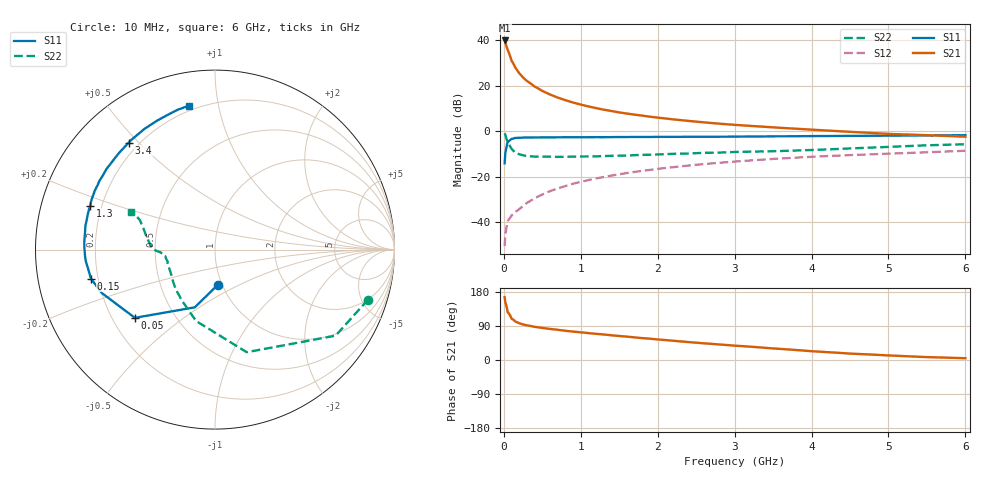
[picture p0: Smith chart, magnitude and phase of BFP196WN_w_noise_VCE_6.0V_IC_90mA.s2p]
! Infineon Technologies  Discrete & RF Semiconductors
! BFP196WN
! VCE =  6.0 V,  IC =  90 mA
! Common Emitter S-Parameters:  Jan 2017
# GHz  S  MA  R  50
!  f  S11  S21  S12  S22
! GHz  MAG  ANG  MAG  ANG  MAG  ANG  MAG  ANG
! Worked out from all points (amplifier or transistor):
!   77 points, 10 MHz to 6 GHz, reference 50 ohm
!   highest |S21| = 39.8 dB at 10 MHz (marker M1)
!   |S21| within 3 dB of that: start of sweep to 38.64 MHz
!   unconditionally stable (mu >= 1): 499.7 MHz to 2.549 GHz
!   at 130 MHz: K = 0.67, MSG = 32.6 dB, |S12| = -36.0 dB
!   at 2.2 GHz: K = 1.02, MAG = 9.7 dB, |S12| = -15.8 dB
!   at 6 GHz: K = 0.91, MSG = 3.1 dB, |S12| = -8.6 dB
!   lowest NFmin = 1.69 dB at 450 MHz
!   S11 on the Smith chart (normalised r, x): 10 MHz: 0.95, -0.39; 50 MHz: 0.29, -0.34; 150 MHz: 0.17, -0.11; 1.3 GHz: 0.16, +0.17; 3.4 GHz: 0.16, +0.47; 6 GHz: 0.17, +0.82
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0.01  0.1968 -85.4  97.52 165.7  0.003 80.1  0.8971 -18.1
0.02  0.3409 -109.3  87.33 151.9  0.0054 71.1  0.8255 -35.5
0.05  0.5864 -139.6  60.66 126.3  0.0105 53.1  0.5983 -72.8
0.1  0.6754 -159.0  35.33 109.1  0.014 52.5  0.4115 -104.9
0.15  0.71 -166.8  24.63 101.5  0.017 55.7  0.3388 -122.9
0.2  0.7154 -171.7  18.68 97.0  0.0194 60.3  0.3115 -134.4
0.25  0.7227 -174.8  15.05 93.8  0.0231 62.7  0.2958 -141.6
0.3  0.7251 -177.3  12.61 91.4  0.0267 64.9  0.2842 -147.7
0.4  0.728 179.1  9.521 87.5  0.0334 68.2  0.2769 -154.6
0.5  0.7294 176.3  7.626 84.6  0.0408 70.1  0.2756 -159.7
0.6  0.7298 173.9  6.371 82.0  0.0483 70.4  0.2752 -163.3
0.7  0.7311 171.7  5.455 79.7  0.0553 71.7  0.2723 -165.9
0.9  0.7334 167.5  4.24 75.0  0.0703 71.7  0.2764 -168.9
1.1  0.7358 164.0  3.483 71.0  0.0846 70.9  0.2783 -171.7
1.3  0.7363 160.6  2.957 67.3  0.0987 69.8  0.2839 -172.8
1.6  0.7433 155.8  2.427 61.6  0.1205 67.9  0.2916 -175.2
2.1  0.7489 148.0  1.896 52.6  0.1555 64.3  0.313 -177.8
3.1  0.76 133.2  1.34 36.6  0.2209 55.8  0.352 177.9
3.4  0.7657 128.9  1.242 32.1  0.2396 53.3  0.3599 175.9
4.1  0.78 119.0  1.055 22.0  0.2785 47.0  0.3915 168.6
5.1  0.7978 108.3  0.859 11.2  0.3248 39.3  0.4586 158.0
6  0.8145 100.4  0.755 4.7  0.3713 33.2  0.5151 155.7
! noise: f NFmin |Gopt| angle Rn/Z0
0.45  1.69  0.59  -175  0.05
0.9  1.82  0.6  -168  0.07
1.9  2.82  0.71  -146  0.23
2.4  3.6  0.72  -138  0.39
